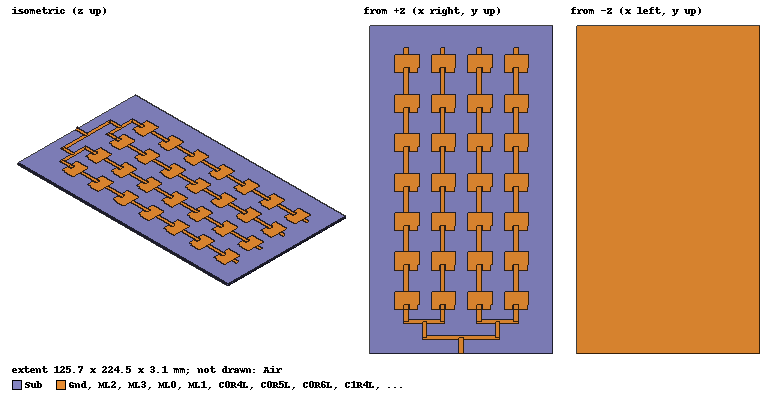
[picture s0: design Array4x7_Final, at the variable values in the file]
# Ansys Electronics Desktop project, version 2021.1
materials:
  vacuum: permittivity=1
  FR4_epoxy: permittivity=4.4 dielectric_loss_tangent=0.02

design Array4x7_Final (HFSS, DrivenModal, model units mm)
options: Save_Adaptive_support_files
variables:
  Lp = 12.8mm
  WpVar = 16.82mm
  dxVar = 25mm
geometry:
  Sub [FR4_epoxy] = box(corner=(0mm, 0mm, -1.6mm), size=(125.74mm, 224.5mm, 1.6mm))
  Gnd = rectangle(corner=(0mm, 0mm, -1.6mm), x_size=125.74mm, y_size=224.5mm)
  FeedIn = rectangle(corner=(61.32mm, 0mm, 0mm), x_size=3.1mm, y_size=11mm)
  J1h = rectangle(corner=(36.32mm, 9.45mm, 0mm), x_size=53.1mm, y_size=3.1mm)
  J1vl = rectangle(corner=(36.32mm, 11mm, 0mm), x_size=3.1mm, y_size=11mm)
  J1vr = rectangle(corner=(86.32mm, 11mm, 0mm), x_size=3.1mm, y_size=11mm)
  J2hL = rectangle(corner=(23.82mm, 20.45mm, 0mm), x_size=28.1mm, y_size=3.1mm)
  J2hR = rectangle(corner=(73.82mm, 20.45mm, 0mm), x_size=28.1mm, y_size=3.1mm)
  Cv0 = rectangle(corner=(23.82mm, 22mm, 0mm), x_size=3.1mm, y_size=8mm)
  Cv1 = rectangle(corner=(48.82mm, 22mm, 0mm), x_size=3.1mm, y_size=8mm)
  Cv2 = rectangle(corner=(73.82mm, 22mm, 0mm), x_size=3.1mm, y_size=8mm)
  Cv3 = rectangle(corner=(98.82mm, 22mm, 0mm), x_size=3.1mm, y_size=8mm)
  ML0 = rectangle(corner=(23.82mm, 30mm, 0mm), x_size=3.1mm, y_size=179.5mm)
  C0R0L = rectangle(corner=(17.5mm, 30mm, 0mm), x_size=5.82mm, y_size=12.5mm)
  C0R0R = rectangle(corner=(27.42mm, 30mm, 0mm), x_size=5.82mm, y_size=12.5mm)
  C0R0T = rectangle(corner=(17.5mm, 33.6mm, 0mm), x_size=WpVar, y_size=8.9mm)
  C0R0L.unite(C0R0R, C0R0T)
  C0R1L = rectangle(corner=(17.5mm, 57mm, 0mm), x_size=5.82mm, y_size=12.5mm)
  C0R1R = rectangle(corner=(27.42mm, 57mm, 0mm), x_size=5.82mm, y_size=12.5mm)
  C0R1T = rectangle(corner=(17.5mm, 60.6mm, 0mm), x_size=WpVar, y_size=8.9mm)
  C0R1L.unite(C0R1R, C0R1T)
  C0R2L = rectangle(corner=(17.5mm, 84mm, 0mm), x_size=5.82mm, y_size=12.5mm)
  C0R2R = rectangle(corner=(27.42mm, 84mm, 0mm), x_size=5.82mm, y_size=12.5mm)
  C0R2T = rectangle(corner=(17.5mm, 87.6mm, 0mm), x_size=WpVar, y_size=8.9mm)
  C0R2L.unite(C0R2R, C0R2T)
  C0R3L = rectangle(corner=(17.5mm, 111mm, 0mm), x_size=5.82mm, y_size=12.5mm)
  C0R3R = rectangle(corner=(27.42mm, 111mm, 0mm), x_size=5.82mm, y_size=12.5mm)
  C0R3T = rectangle(corner=(17.5mm, 114.6mm, 0mm), x_size=WpVar, y_size=8.9mm)
  C0R3L.unite(C0R3R, C0R3T)
  C0R4L = rectangle(corner=(17.5mm, 138mm, 0mm), x_size=5.82mm, y_size=12.5mm)
  C0R4R = rectangle(corner=(27.42mm, 138mm, 0mm), x_size=5.82mm, y_size=12.5mm)
  C0R4T = rectangle(corner=(17.5mm, 141.6mm, 0mm), x_size=WpVar, y_size=8.9mm)
  C0R4L.unite(C0R4R, C0R4T)
  C0R5L = rectangle(corner=(17.5mm, 165mm, 0mm), x_size=5.82mm, y_size=12.5mm)
  C0R5R = rectangle(corner=(27.42mm, 165mm, 0mm), x_size=5.82mm, y_size=12.5mm)
  C0R5T = rectangle(corner=(17.5mm, 168.6mm, 0mm), x_size=WpVar, y_size=8.9mm)
  C0R5L.unite(C0R5R, C0R5T)
  C0R6L = rectangle(corner=(17.5mm, 192mm, 0mm), x_size=5.82mm, y_size=12.5mm)
  C0R6R = rectangle(corner=(27.42mm, 192mm, 0mm), x_size=5.82mm, y_size=12.5mm)
  C0R6T = rectangle(corner=(17.5mm, 195.6mm, 0mm), x_size=WpVar, y_size=8.9mm)
  C0R6L.unite(C0R6R, C0R6T)
  ML1 = rectangle(corner=(48.82mm, 30mm, 0mm), x_size=3.1mm, y_size=179.5mm)
  C1R0L = rectangle(corner=(42.5mm, 30mm, 0mm), x_size=5.82mm, y_size=12.5mm)
  C1R0R = rectangle(corner=(52.42mm, 30mm, 0mm), x_size=5.82mm, y_size=12.5mm)
  C1R0T = rectangle(corner=(42.5mm, 33.6mm, 0mm), x_size=WpVar, y_size=8.9mm)
  C1R0L.unite(C1R0R, C1R0T)
  C1R1L = rectangle(corner=(42.5mm, 57mm, 0mm), x_size=5.82mm, y_size=12.5mm)
  C1R1R = rectangle(corner=(52.42mm, 57mm, 0mm), x_size=5.82mm, y_size=12.5mm)
  C1R1T = rectangle(corner=(42.5mm, 60.6mm, 0mm), x_size=WpVar, y_size=8.9mm)
  C1R1L.unite(C1R1R, C1R1T)
  C1R2L = rectangle(corner=(42.5mm, 84mm, 0mm), x_size=5.82mm, y_size=12.5mm)
  C1R2R = rectangle(corner=(52.42mm, 84mm, 0mm), x_size=5.82mm, y_size=12.5mm)
  C1R2T = rectangle(corner=(42.5mm, 87.6mm, 0mm), x_size=WpVar, y_size=8.9mm)
  C1R2L.unite(C1R2R, C1R2T)
  C1R3L = rectangle(corner=(42.5mm, 111mm, 0mm), x_size=5.82mm, y_size=12.5mm)
  C1R3R = rectangle(corner=(52.42mm, 111mm, 0mm), x_size=5.82mm, y_size=12.5mm)
  C1R3T = rectangle(corner=(42.5mm, 114.6mm, 0mm), x_size=WpVar, y_size=8.9mm)
  C1R3L.unite(C1R3R, C1R3T)
  C1R4L = rectangle(corner=(42.5mm, 138mm, 0mm), x_size=5.82mm, y_size=12.5mm)
  C1R4R = rectangle(corner=(52.42mm, 138mm, 0mm), x_size=5.82mm, y_size=12.5mm)
  C1R4T = rectangle(corner=(42.5mm, 141.6mm, 0mm), x_size=WpVar, y_size=8.9mm)
  C1R4L.unite(C1R4R, C1R4T)
  C1R5L = rectangle(corner=(42.5mm, 165mm, 0mm), x_size=5.82mm, y_size=12.5mm)
  C1R5R = rectangle(corner=(52.42mm, 165mm, 0mm), x_size=5.82mm, y_size=12.5mm)
  C1R5T = rectangle(corner=(42.5mm, 168.6mm, 0mm), x_size=WpVar, y_size=8.9mm)
  C1R5L.unite(C1R5R, C1R5T)
  C1R6L = rectangle(corner=(42.5mm, 192mm, 0mm), x_size=5.82mm, y_size=12.5mm)
  C1R6R = rectangle(corner=(52.42mm, 192mm, 0mm), x_size=5.82mm, y_size=12.5mm)
  C1R6T = rectangle(corner=(42.5mm, 195.6mm, 0mm), x_size=WpVar, y_size=8.9mm)
  C1R6L.unite(C1R6R, C1R6T)
  ML2 = rectangle(corner=(73.82mm, 30mm, 0mm), x_size=3.1mm, y_size=179.5mm)
  C2R0L = rectangle(corner=(67.5mm, 30mm, 0mm), x_size=5.82mm, y_size=12.5mm)
  C2R0R = rectangle(corner=(77.42mm, 30mm, 0mm), x_size=5.82mm, y_size=12.5mm)
  C2R0T = rectangle(corner=(67.5mm, 33.6mm, 0mm), x_size=WpVar, y_size=8.9mm)
  C2R0L.unite(C2R0R, C2R0T)
  C2R1L = rectangle(corner=(67.5mm, 57mm, 0mm), x_size=5.82mm, y_size=12.5mm)
  C2R1R = rectangle(corner=(77.42mm, 57mm, 0mm), x_size=5.82mm, y_size=12.5mm)
  C2R1T = rectangle(corner=(67.5mm, 60.6mm, 0mm), x_size=WpVar, y_size=8.9mm)
  C2R1L.unite(C2R1R, C2R1T)
  C2R2L = rectangle(corner=(67.5mm, 84mm, 0mm), x_size=5.82mm, y_size=12.5mm)
  C2R2R = rectangle(corner=(77.42mm, 84mm, 0mm), x_size=5.82mm, y_size=12.5mm)
  C2R2T = rectangle(corner=(67.5mm, 87.6mm, 0mm), x_size=WpVar, y_size=8.9mm)
  C2R2L.unite(C2R2R, C2R2T)
  C2R3L = rectangle(corner=(67.5mm, 111mm, 0mm), x_size=5.82mm, y_size=12.5mm)
  C2R3R = rectangle(corner=(77.42mm, 111mm, 0mm), x_size=5.82mm, y_size=12.5mm)
  C2R3T = rectangle(corner=(67.5mm, 114.6mm, 0mm), x_size=WpVar, y_size=8.9mm)
  C2R3L.unite(C2R3R, C2R3T)
  C2R4L = rectangle(corner=(67.5mm, 138mm, 0mm), x_size=5.82mm, y_size=12.5mm)
  C2R4R = rectangle(corner=(77.42mm, 138mm, 0mm), x_size=5.82mm, y_size=12.5mm)
  C2R4T = rectangle(corner=(67.5mm, 141.6mm, 0mm), x_size=WpVar, y_size=8.9mm)
  C2R4L.unite(C2R4R, C2R4T)
  C2R5L = rectangle(corner=(67.5mm, 165mm, 0mm), x_size=5.82mm, y_size=12.5mm)
  C2R5R = rectangle(corner=(77.42mm, 165mm, 0mm), x_size=5.82mm, y_size=12.5mm)
  C2R5T = rectangle(corner=(67.5mm, 168.6mm, 0mm), x_size=WpVar, y_size=8.9mm)
  C2R5L.unite(C2R5R, C2R5T)
  C2R6L = rectangle(corner=(67.5mm, 192mm, 0mm), x_size=5.82mm, y_size=12.5mm)
  C2R6R = rectangle(corner=(77.42mm, 192mm, 0mm), x_size=5.82mm, y_size=12.5mm)
  C2R6T = rectangle(corner=(67.5mm, 195.6mm, 0mm), x_size=WpVar, y_size=8.9mm)
  C2R6L.unite(C2R6R, C2R6T)
  ML3 = rectangle(corner=(98.82mm, 30mm, 0mm), x_size=3.1mm, y_size=179.5mm)
  C3R0L = rectangle(corner=(92.5mm, 30mm, 0mm), x_size=5.82mm, y_size=12.5mm)
  C3R0R = rectangle(corner=(102.42mm, 30mm, 0mm), x_size=5.82mm, y_size=12.5mm)
  C3R0T = rectangle(corner=(92.5mm, 33.6mm, 0mm), x_size=WpVar, y_size=8.9mm)
  C3R0L.unite(C3R0R, C3R0T)
  C3R1L = rectangle(corner=(92.5mm, 57mm, 0mm), x_size=5.82mm, y_size=12.5mm)
  C3R1R = rectangle(corner=(102.42mm, 57mm, 0mm), x_size=5.82mm, y_size=12.5mm)
  C3R1T = rectangle(corner=(92.5mm, 60.6mm, 0mm), x_size=WpVar, y_size=8.9mm)
  C3R1L.unite(C3R1R, C3R1T)
  C3R2L = rectangle(corner=(92.5mm, 84mm, 0mm), x_size=5.82mm, y_size=12.5mm)
  C3R2R = rectangle(corner=(102.42mm, 84mm, 0mm), x_size=5.82mm, y_size=12.5mm)
  C3R2T = rectangle(corner=(92.5mm, 87.6mm, 0mm), x_size=WpVar, y_size=8.9mm)
  C3R2L.unite(C3R2R, C3R2T)
  C3R3L = rectangle(corner=(92.5mm, 111mm, 0mm), x_size=5.82mm, y_size=12.5mm)
  C3R3R = rectangle(corner=(102.42mm, 111mm, 0mm), x_size=5.82mm, y_size=12.5mm)
  C3R3T = rectangle(corner=(92.5mm, 114.6mm, 0mm), x_size=WpVar, y_size=8.9mm)
  C3R3L.unite(C3R3R, C3R3T)
  C3R4L = rectangle(corner=(92.5mm, 138mm, 0mm), x_size=5.82mm, y_size=12.5mm)
  C3R4R = rectangle(corner=(102.42mm, 138mm, 0mm), x_size=5.82mm, y_size=12.5mm)
  C3R4T = rectangle(corner=(92.5mm, 141.6mm, 0mm), x_size=WpVar, y_size=8.9mm)
  C3R4L.unite(C3R4R, C3R4T)
  C3R5L = rectangle(corner=(92.5mm, 165mm, 0mm), x_size=5.82mm, y_size=12.5mm)
  C3R5R = rectangle(corner=(102.42mm, 165mm, 0mm), x_size=5.82mm, y_size=12.5mm)
  C3R5T = rectangle(corner=(92.5mm, 168.6mm, 0mm), x_size=WpVar, y_size=8.9mm)
  C3R5L.unite(C3R5R, C3R5T)
  C3R6L = rectangle(corner=(92.5mm, 192mm, 0mm), x_size=5.82mm, y_size=12.5mm)
  C3R6R = rectangle(corner=(102.42mm, 192mm, 0mm), x_size=5.82mm, y_size=12.5mm)
  C3R6T = rectangle(corner=(92.5mm, 195.6mm, 0mm), x_size=WpVar, y_size=8.9mm)
  C3R6L.unite(C3R6R, C3R6T)
  Port1 = rectangle(corner=(61.32mm, 0mm, -1.6mm), z_size=3.1mm, x_size=1.6mm)
  Air [vacuum] = box(corner=(-15mm, -15mm, -16.6mm), size=(155.74mm, 254.5mm, 31.6mm))
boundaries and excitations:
  PE1: Perfect E Objects=Gnd
  PE2: Perfect E Objects=FeedIn
  PE3: Perfect E Objects=J1h
  PE4: Perfect E Objects=J1vl
  PE5: Perfect E Objects=J1vr
  PE6: Perfect E Objects=J2hL
  PE7: Perfect E Objects=J2hR
  PE8: Perfect E Objects=Cv0
  PE9: Perfect E Objects=Cv1
  PE10: Perfect E Objects=Cv2
  PE11: Perfect E Objects=Cv3
  PE12: Perfect E Objects=ML0
  PE13: Perfect E Objects=C0R0L
  PE14: Perfect E Objects=C0R1L
  PE15: Perfect E Objects=C0R2L
  PE16: Perfect E Objects=C0R3L
  PE17: Perfect E Objects=C0R4L
  PE18: Perfect E Objects=C0R5L
  PE19: Perfect E Objects=C0R6L
  PE20: Perfect E Objects=ML1
  PE21: Perfect E Objects=C1R0L
  PE22: Perfect E Objects=C1R1L
  PE23: Perfect E Objects=C1R2L
  PE24: Perfect E Objects=C1R3L
  PE25: Perfect E Objects=C1R4L
  PE26: Perfect E Objects=C1R5L
  PE27: Perfect E Objects=C1R6L
  PE28: Perfect E Objects=ML2
  PE29: Perfect E Objects=C2R0L
  PE30: Perfect E Objects=C2R1L
  PE31: Perfect E Objects=C2R2L
  PE32: Perfect E Objects=C2R3L
  PE33: Perfect E Objects=C2R4L
  PE34: Perfect E Objects=C2R5L
  PE35: Perfect E Objects=C2R6L
  PE36: Perfect E Objects=ML3
  PE37: Perfect E Objects=C3R0L
  PE38: Perfect E Objects=C3R1L
  PE39: Perfect E Objects=C3R2L
  PE40: Perfect E Objects=C3R3L
  PE41: Perfect E Objects=C3R4L
  PE42: Perfect E Objects=C3R5L
  PE43: Perfect E Objects=C3R6L
  Rad: Radiation Objects=Air
  1: Lumped Port Objects=Port1 Modes{Mode1{IntLine{Port1.edge(z at corner) at 0.0313 along -> middle of FeedIn.edge(y at corner)} CharImp=Zpi RenormImp=50ohm}} Impedance=50ohm
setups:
  Setup1: HfssDriven Frequency=5.8GHz MaxDeltaS=0.02 MaximumPasses=10 MinimumPasses=1 MinimumConvergedPasses=1 PercentRefinement=30 BasisOrder=1 PortAccuracy=2
    sweep Sweep: 5.5GHz to 6.5GHz, 101 points; Type=Interpolating InterpTolerance=0.5 InterpMaxSolns=250 InterpUsePortImped=false PassivityErrorTolerance=0.0001
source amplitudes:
  1:1: 1W 0deg
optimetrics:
  ParametricSetup1: Parametric Sim._Setups=[Setup1]
    sweep Lp: LIN 12.3mm 12.8mm 0.1mm
    sweep WpVar: LIN 15.5mm 16mm 0.1mm
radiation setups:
  Infinite Sphere1: Infinite Sphere Theta=0deg..180deg step 2deg Phi=-180deg..180deg step 2deg
  Infinite Sphere2H: Infinite Sphere Theta=-180deg..180deg step 2deg Phi=0deg..0deg step 2deg
  Infinite Sphere2: Infinite Sphere Theta=-180deg..180deg step 2deg Phi=90deg..90deg step 2deg
  Infinite Sphere3: Infinite Sphere Theta=0deg..0deg step 2deg Phi=-90deg..90deg step 2deg
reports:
  S Parameter Plot 1: dB(S(1,1)) vs Freq on Setup1 : Sweep [Lp=12.3mm,12.4mm,12.5mm,12.6mm,12.7mm,12.8mm WpVar=15.5mm,15.6mm,15.7mm,15.74mm,15.8mm,15.9mm,16mm,16.82mm]; markers m1 at 5.8GHz, m2 at 5.7GHz, m3 at 5.78GHz, m4 at 5.9GHz, MX1 at x=5.7035398e+09, MY1 at y=-15
  Gain Plot 1: dB(GainTotal) vs Phi, Theta on Setup1 : LastAdaptive, Infinite Sphere1 [Freq=5.8GHz Lp=12.5mm WpVar=15.74mm]
  Gain Plot 2: dB(GainTotal) vs Theta on Setup1 : LastAdaptive, Infinite Sphere2H [Phi=all Freq=5.8GHz Lp=12.5mm WpVar=15.74mm]; markers m1 at 0deg, m2 at -38deg, m3 at 42deg, m4 at -140deg, m5 at -170deg, m6 at 136deg, m7 at -16deg, m8 at 14deg
  Gain Plot 3: dB(GainTotal) vs Theta on Setup1 : LastAdaptive, Infinite Sphere2 [Phi=all Freq=5.8GHz Lp=12.5mm WpVar=15.74mm]; markers m1 at 26deg, m2 at 18deg, m3 at 34deg, m4 at 54deg, m5 at -16deg
  Gain Plot 4: dB(GainTotal) vs Theta on Setup1 : LastAdaptive, Infinite Sphere2H [Phi=all Freq=5.8GHz Lp=12.5mm WpVar=15.74mm]; markers m1 at 0deg, m2 at 44deg, m3 at -38deg, m4 at 132deg, m5 at -138deg
  Gain Plot 6: dB(GainTotal) vs Theta on Setup1 : LastAdaptive, Infinite Sphere2 [Phi=all Freq=5.8GHz Lp=12.5mm WpVar=15.74mm]; markers m1 at 26deg, m2 at -18deg, m3 at -76deg, m4 at 124deg
  Gain Plot 7: dB(GainTotal) vs Theta on Setup1 : LastAdaptive, Infinite Sphere3 [Phi=all Freq=5.8GHz Lp=all WpVar=all]
  Gain Plot 8: dB(GainTotal) vs Theta on Setup1 : LastAdaptive, Infinite Sphere3 [Phi=all Freq=5.8GHz Lp=12.5mm WpVar=15.74mm]
